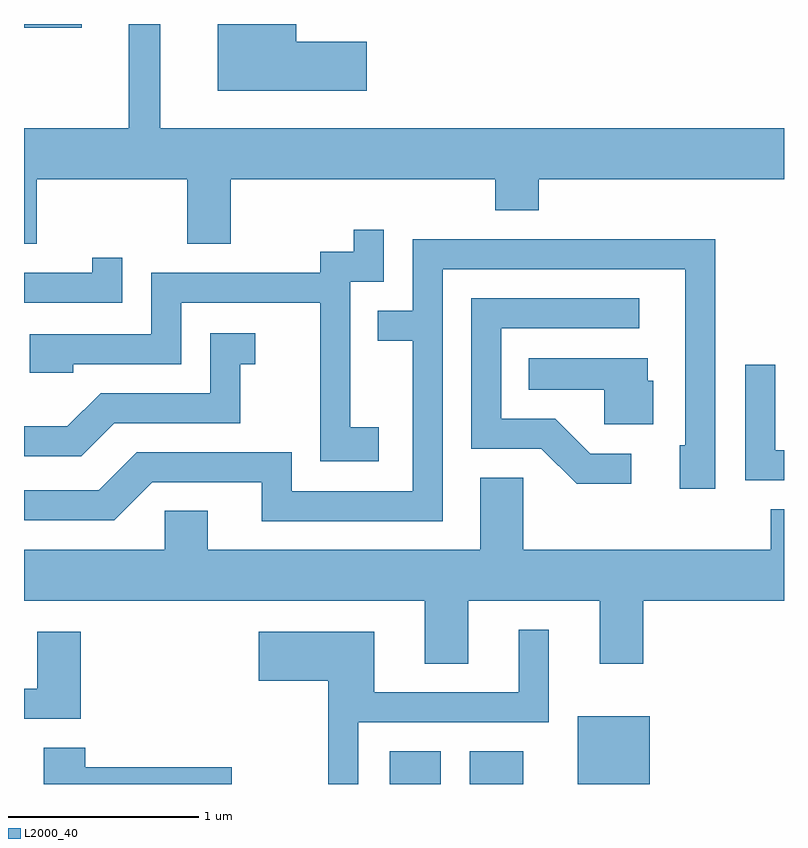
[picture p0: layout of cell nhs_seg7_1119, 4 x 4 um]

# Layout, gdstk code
import gdstk
lib = gdstk.Library(unit=1e-6, precision=1e-09)
def R(c, l, rs):  # rectangles x0, y0, x1, y1
    for r in rs: c.add(gdstk.rectangle(r[:2], r[2:], *l))
def P(c, l, *ps):  # polygons
    for p in ps: c.add(gdstk.Polygon(p, *l))
L2000_40 = (2000, 40)

nhs_seg7_1119 = lib.new_cell('nhs_seg7_1119')
R(nhs_seg7_1119, L2000_40, [(221.536,1702.252,221.804,1702.424), (221.956,1702.252,222.239,1702.424), (222.526,1702.252,222.904,1702.609), (219.611,1706.231,219.914,1706.252)])
P(nhs_seg7_1119, L2000_40, [(221.414,1706.159),(221.044,1706.159),(221.044,1706.252),(220.631,1706.252),(220.631,1705.901),(221.414,1705.901)],
  [(219.679,1705.436),(220.471,1705.436),(220.471,1705.096),(220.699,1705.096),(220.699,1705.436),(222.091,1705.436),(222.091,1705.271),(222.319,1705.271),(222.319,1705.436),(223.611,1705.436),(223.611,1705.704),(220.329,1705.704),(220.329,1706.252),(220.161,1706.252),(220.161,1705.704),(219.611,1705.704),(219.611,1705.096),(219.679,1705.096)],
  [(221.479,1704.129),(221.329,1704.129),(221.329,1704.896),(221.504,1704.896),(221.504,1705.168),(221.346,1705.168),(221.346,1705.054),(221.171,1705.054),(221.171,1704.944),(220.281,1704.944),(220.281,1704.619),(219.641,1704.619),(219.641,1704.416),(219.869,1704.416),(219.869,1704.461),(220.439,1704.461),(220.439,1704.786),(221.171,1704.786),(221.171,1703.951),(221.479,1703.951)],
  [(221.814,1704.961),(223.091,1704.961),(223.091,1704.034),(223.061,1704.034),(223.061,1703.806),(223.249,1703.806),(223.249,1705.119),(221.656,1705.119),(221.656,1704.744),(221.473,1704.744),(221.473,1704.586),(221.656,1704.586),(221.656,1703.794),(221.019,1703.794),(221.019,1703.999),(220.204,1703.999),(220.004,1703.799),(219.611,1703.799),(219.611,1703.641),(220.087,1703.641),(220.287,1703.841),(220.861,1703.841),(220.861,1703.636),(221.814,1703.636)],
  [(220.129,1705.023),(219.971,1705.023),(219.971,1704.944),(219.611,1704.944),(219.611,1704.786),(220.129,1704.786)],
  [(222.808,1703.989),(222.592,1703.989),(222.407,1704.174),(222.124,1704.174),(222.124,1704.651),(222.848,1704.651),(222.848,1704.809),(221.966,1704.809),(221.966,1704.016),(222.334,1704.016),(222.519,1703.831),(222.808,1703.831)],
  [(220.087,1704.151),(220.749,1704.151),(220.749,1704.461),(220.828,1704.461),(220.828,1704.624),(220.591,1704.624),(220.591,1704.309),(220.014,1704.309),(219.839,1704.134),(219.611,1704.134),(219.611,1703.976),(219.912,1703.976)],
  [(222.924,1704.374),(222.894,1704.374),(222.894,1704.494),(222.268,1704.494),(222.268,1704.326),(222.666,1704.326),(222.666,1704.146),(222.924,1704.146)],
  [(223.611,1704.009),(223.564,1704.009),(223.564,1704.458),(223.406,1704.458),(223.406,1703.851),(223.611,1703.851)],
  [(221.949,1703.216),(222.641,1703.216),(222.641,1702.886),(222.869,1702.886),(222.869,1703.216),(223.611,1703.216),(223.611,1703.699),(223.541,1703.699),(223.541,1703.484),(222.239,1703.484),(222.239,1703.864),(222.011,1703.864),(222.011,1703.484),(220.579,1703.484),(220.579,1703.689),(220.351,1703.689),(220.351,1703.484),(219.611,1703.484),(219.611,1703.216),(221.721,1703.216),(221.721,1702.886),(221.949,1702.886)],
  [(221.369,1702.576),(222.374,1702.576),(222.374,1703.063),(222.216,1703.063),(222.216,1702.734),(221.454,1702.734),(221.454,1703.054),(220.846,1703.054),(220.846,1702.796),(221.211,1702.796),(221.211,1702.252),(221.369,1702.252)],
  [(219.909,1703.054),(219.681,1703.054),(219.681,1702.754),(219.611,1702.754),(219.611,1702.596),(219.909,1702.596)],
  [(220.704,1702.339),(219.934,1702.339),(219.934,1702.444),(219.716,1702.444),(219.716,1702.252),(220.704,1702.252)])

lib.write_gds('nhs_seg7_1119.gds')
